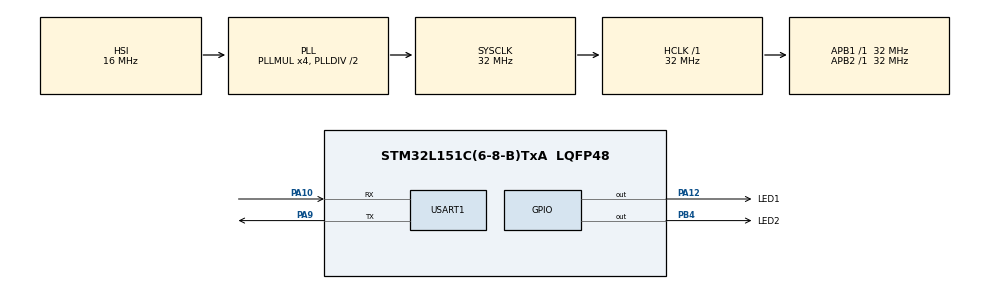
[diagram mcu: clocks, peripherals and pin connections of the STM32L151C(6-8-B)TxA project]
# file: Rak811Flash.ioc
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Mcu.Family=STM32L1
Mcu.Name=STM32L151C(6-8-B)TxA
Mcu.Package=LQFP48
NVIC.PriorityGroup=NVIC_PRIORITYGROUP_4
PA10.Mode=Asynchronous
PA10.Signal=USART1_RX
PA12.GPIO_Label=LED1
PA12.PinState=GPIO_PIN_SET
PA12.Signal=GPIO_Output
PA13.Mode=Serial_Wire
PA13.Signal=SYS_JTMS-SWDIO
PA14.Mode=Serial_Wire
PA14.Signal=SYS_JTCK-SWCLK
PA9.Mode=Asynchronous
PA9.Signal=USART1_TX
PB4.GPIO_Label=LED2
PB4.PinState=GPIO_PIN_SET
PB4.Signal=GPIO_Output
ProjectManager.HeapSize=0x200
ProjectManager.StackSize=0x400
ProjectManager.TargetToolchain=SW4STM32
RCC.48MHZClocksFreq_Value=32000000
RCC.AHBFreq_Value=32000000
RCC.APB1Freq_Value=32000000
RCC.APB1TimFreq_Value=32000000
RCC.APB2Freq_Value=32000000
RCC.APB2TimFreq_Value=32000000
RCC.HCLKFreq_Value=32000000
RCC.HSE_VALUE=24000000
RCC.HSI_VALUE=16000000
RCC.LSE_VALUE=32768
RCC.MSI_VALUE=2097000
RCC.PLLMUL=RCC_PLL_MUL4
RCC.SYSCLKFreq_VALUE=32000000
RCC.SYSCLKSource=RCC_SYSCLKSOURCE_PLLCLK
RCC.VCOOutputFreq_Value=64000000
USART1.VirtualMode=VM_ASYNC
board=custom

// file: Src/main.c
/**
  ******************************************************************************
  * @file           : main.c
  * @brief          : Main program body
  ******************************************************************************
  ** This notice applies to any and all portions of this file
  * that are not between comment pairs USER CODE BEGIN and
  * USER CODE END. Other portions of this file, whether
  * inserted by the user or by software development tools
  * are owned by their respective copyright owners.
  *
  * COPYRIGHT(c) 2018 STMicroelectronics
  *
  * Redistribution and use in source and binary forms, with or without modification,
  * are permitted provided that the following conditions are met:
  *   1. Redistributions of source code must retain the above copyright notice,
  *      this list of conditions and the following disclaimer.
  *   2. Redistributions in binary form must reproduce the above copyright notice,
  *      this list of conditions and the following disclaimer in the documentation
  *      and/or other materials provided with the distribution.
  *   3. Neither the name of STMicroelectronics nor the names of its contributors
  *      may be used to endorse or promote products derived from this software
  *      without specific prior written permission.
  *
  * THIS SOFTWARE IS PROVIDED BY THE COPYRIGHT HOLDERS AND CONTRIBUTORS "AS IS"
  * AND ANY EXPRESS OR IMPLIED WARRANTIES, INCLUDING, BUT NOT LIMITED TO, THE
  * IMPLIED WARRANTIES OF MERCHANTABILITY AND FITNESS FOR A PARTICULAR PURPOSE ARE
  * DISCLAIMED. IN NO EVENT SHALL THE COPYRIGHT HOLDER OR CONTRIBUTORS BE LIABLE
  * FOR ANY DIRECT, INDIRECT, INCIDENTAL, SPECIAL, EXEMPLARY, OR CONSEQUENTIAL
  * DAMAGES (INCLUDING, BUT NOT LIMITED TO, PROCUREMENT OF SUBSTITUTE GOODS OR
  * SERVICES; LOSS OF USE, DATA, OR PROFITS; OR BUSINESS INTERRUPTION) HOWEVER
  * CAUSED AND ON ANY THEORY OF LIABILITY, WHETHER IN CONTRACT, STRICT LIABILITY,
  * OR TORT (INCLUDING NEGLIGENCE OR OTHERWISE) ARISING IN ANY WAY OUT OF THE USE
  * OF THIS SOFTWARE, EVEN IF ADVISED OF THE POSSIBILITY OF SUCH DAMAGE.
  *
  ******************************************************************************
  */
#include "main.h"
#include "stm32l1xx_hal.h"

/* USER CODE BEGIN Includes */
#include "stm32l151xba.h"
#include "stm32l1xx_hal_flash_ex.h"
#include <stdlib.h>
#include <string.h>

#define BUFLEN           0x100
#define FLASH_USER_ADDR  0x08000000 + 0x20000 - BUFLEN //highest 256 bytes of flash
//#define FLASH_USER_ADDR 0x0801E000
/* USER CODE END Includes */

UART_HandleTypeDef huart1;

/* USER CODE BEGIN PV */
/* Private variables ---------------------------------------------------------*/

/* USER CODE END PV */

void SystemClock_Config(void);
static void MX_GPIO_Init(void);
static void MX_USART1_UART_Init(void);

/* USER CODE BEGIN PFP */
/* Private function prototypes -----------------------------------------------*/

/* USER CODE END PFP */

/* USER CODE BEGIN 0 */

void read_flash_data(uint32_t addr, void *buffer, uint16_t len)
{
	memcpy(buffer, (void *)addr, len);
}

void erase_page(uint32_t addr) {
	FLASH_EraseInitTypeDef EraseInitStruct;
	HAL_StatusTypeDef retCode;
	uint32_t PAGEError = 0;

	HAL_FLASH_Unlock();
	printf("Erasing flash at address: 0x%lx\r\n",addr);
    EraseInitStruct.TypeErase   = FLASH_TYPEERASE_PAGES;
    EraseInitStruct.PageAddress = addr;
    EraseInitStruct.NbPages     = 1;
    if ((retCode = HAL_FLASHEx_Erase(&EraseInitStruct, &PAGEError))!= HAL_OK) {
    	printf("Flash erase error: 0x%02x\r\n",retCode);
    	printf("PAGEError: %ld\r\n",PAGEError);
    	retCode = HAL_FLASH_GetError();
    	printf("Flash error code is 0x%x\r\n",retCode);
    	return;
    }
	HAL_FLASH_Lock();
    printf("Page successfully erased\r\n");
}

void write_flash_data(uint32_t addr, void *buffer, uint16_t len)
{
	uint32_t *wr_data = buffer;
	int i = 0;

	printf("write_flash_data: address: 0x%lx, length: 0x%04x\r\n",addr,len);
	HAL_FLASH_Unlock();

	for (i = 0; i < len/4; i++) {
	    if (HAL_FLASH_Program(FLASH_TYPEPROGRAM_WORD, addr, *wr_data) != HAL_OK) {
	    	printf("Flash programming error at address: 0x%lx\r\n",addr);
	    	return;
	    }
        wr_data++;
        addr += 4;
	}
	//DelayMs(1000);
	HAL_FLASH_Lock();
}

void printBuf(uint8_t *buffer, uint16_t bufLen) {
	printf("0x000: ");
	for (int i=0; i<bufLen; i++) {
		if ((i != 0) && !(i % 16)) {
			printf("\r\n");
			if ((i+1) < bufLen)
				printf("0x%03x: ",i);
		}
		printf("0x%02x ",buffer[i]);
	}
	printf("\r\n\n");
}

void printOptionBytes(FLASH_OBProgramInitTypeDef *optionBytes) {
	printf("Option bytes:\r\n");
	printf("OptionType:       0x%lx\r\n",optionBytes->OptionType);
	printf("WRPState  :       0x%lx\r\n",optionBytes->WRPState);
	printf("WRPSector0To31 :  0x%lx\r\n",optionBytes->WRPSector0To31);
	printf("RDPLevel:         0x%02x\r\n",optionBytes->RDPLevel);
	printf("BORLevel:         0x%02x\r\n",optionBytes->BORLevel);
	printf("USERConfig:       0x%02x\r\n",optionBytes->USERConfig);
}
/* USER CODE END 0 */

int main(void)
{
  /* USER CODE BEGIN 1 */
	uint8_t outBuf[BUFLEN];
	uint8_t inBuf[BUFLEN];
	uint32_t tmp,flash_status;
	FLASH_OBProgramInitTypeDef optionBytes;
	uint32_t flashAddress;
	extern uint32_t _hello;
	flash_status = FLASH->SR;

  /* USER CODE END 1 */

  /* MCU Configuration----------------------------------------------------------*/

  /* Reset of all peripherals, Initializes the Flash interface and the Systick. */
  HAL_Init();

  /* Configure the system clock */
  SystemClock_Config();

  /* Initialize all configured peripherals */
  MX_GPIO_Init();
  MX_USART1_UART_Init();
  /* USER CODE BEGIN 2 */
  printf("Writing and Reading Flash\r\n");
  printf ("The program writes Hello World! to flash and reads it back\r\n");
  printf("Flash is at address 0x%lx\r\n",(long)FLASH_USER_ADDR);

  HAL_FLASHEx_OBGetConfig(&optionBytes);
  printOptionBytes(&optionBytes);

  printf("The option bytes\r\n");
  tmp = OB->RDP;
  printf("RDP:   0x%08lx\r\n",tmp);
  tmp = OB->USER;
  printf("USER:  0x%08lx\r\n",tmp);
  tmp = OB->WRP01;
  printf("WRP01: 0x%08lx\r\n",tmp);
  tmp = OB->WRP23;
  printf("WRP23: 0x%08lx\r\n",tmp);

  printf("Flash status after reset: 0x%08lx\r\n",flash_status);

//  printf("Flash status after HAL_Init(): 0x%08lx\r\n",tmp1);

  FLASH->SR = (uint32_t) 0x800;
  HAL_Delay(10);
  tmp = FLASH->SR;
  printf("Flash status after write: 0x%08lx\r\n",tmp);
  tmp = FLASH->OBR;
   printf("Flash OBR 0x%08lx\r\n",tmp);
//#define READY 1

  /*
   * clear out the page buffer, write "Hello World!" into it and print it
   */
  memset(outBuf,0,BUFLEN);
  strcpy((char *)outBuf,"Hello from Flash!\r\n");
  printf("out buffer: \r\n");
  printBuf(outBuf,(uint16_t) BUFLEN);
  /*
   * read the current data from the flash page and print it
   */
  flashAddress = (uint32_t)&_hello;
  printf("Flash address is 0x%08lx\r\n",flashAddress);
  read_flash_data(flashAddress, inBuf, (uint16_t) BUFLEN );
  printf("Beginning of flash buffer: %s\r\n",inBuf);
  printBuf(inBuf,(uint16_t) BUFLEN);
  /*
   * erase the page and print the values after erase
   */
  erase_page(flashAddress);
  printf("Buffer after erase: \r\n");
  read_flash_data(flashAddress, inBuf, (uint16_t) BUFLEN );
  printBuf(inBuf,(uint16_t) BUFLEN);
  /*
   * write the flash with the previously prepared output buffer
   */
  write_flash_data(flashAddress, outBuf, (uint16_t) BUFLEN );
  /*
   * read back the flash page and print its contents to check if writing was successful
   */
  read_flash_data(flashAddress, inBuf, (uint16_t) BUFLEN );
  printf("Flash after write: \r\n");
  printBuf(inBuf,(uint16_t) BUFLEN);

  /* USER CODE END 2 */

  /* Infinite loop */
  while (1)
  {

  }

}

void SystemClock_Config(void)
{

  RCC_OscInitTypeDef RCC_OscInitStruct;
  RCC_ClkInitTypeDef RCC_ClkInitStruct;

    /**Configure the main internal regulator output voltage
    */
  __HAL_PWR_VOLTAGESCALING_CONFIG(PWR_REGULATOR_VOLTAGE_SCALE1);

    /**Initializes the CPU, AHB and APB busses clocks
    */
  RCC_OscInitStruct.OscillatorType = RCC_OSCILLATORTYPE_HSI;
  RCC_OscInitStruct.HSIState = RCC_HSI_ON;
  RCC_OscInitStruct.HSICalibrationValue = 16;
  RCC_OscInitStruct.PLL.PLLState = RCC_PLL_ON;
  RCC_OscInitStruct.PLL.PLLSource = RCC_PLLSOURCE_HSI;
  RCC_OscInitStruct.PLL.PLLMUL = RCC_PLL_MUL4;
  RCC_OscInitStruct.PLL.PLLDIV = RCC_PLL_DIV2;
  if (HAL_RCC_OscConfig(&RCC_OscInitStruct) != HAL_OK)
  {
    _Error_Handler(__FILE__, __LINE__);
  }

    /**Initializes the CPU, AHB and APB busses clocks
    */
  RCC_ClkInitStruct.ClockType = RCC_CLOCKTYPE_HCLK|RCC_CLOCKTYPE_SYSCLK
                              |RCC_CLOCKTYPE_PCLK1|RCC_CLOCKTYPE_PCLK2;
  RCC_ClkInitStruct.SYSCLKSource = RCC_SYSCLKSOURCE_PLLCLK;
  RCC_ClkInitStruct.AHBCLKDivider = RCC_SYSCLK_DIV1;
  RCC_ClkInitStruct.APB1CLKDivider = RCC_HCLK_DIV1;
  RCC_ClkInitStruct.APB2CLKDivider = RCC_HCLK_DIV1;

  if (HAL_RCC_ClockConfig(&RCC_ClkInitStruct, FLASH_LATENCY_1) != HAL_OK)
  {
    _Error_Handler(__FILE__, __LINE__);
  }

    /**Configure the Systick interrupt time
    */
  HAL_SYSTICK_Config(HAL_RCC_GetHCLKFreq()/1000);

    /**Configure the Systick
    */
  HAL_SYSTICK_CLKSourceConfig(SYSTICK_CLKSOURCE_HCLK);

  /* SysTick_IRQn interrupt configuration */
  HAL_NVIC_SetPriority(SysTick_IRQn, 0, 0);
}

/* USART1 init function */
static void MX_USART1_UART_Init(void)
{

  huart1.Instance = USART1;
  huart1.Init.BaudRate = 115200;
  huart1.Init.WordLength = UART_WORDLENGTH_8B;
  huart1.Init.StopBits = UART_STOPBITS_1;
  huart1.Init.Parity = UART_PARITY_NONE;
  huart1.Init.Mode = UART_MODE_TX_RX;
  huart1.Init.HwFlowCtl = UART_HWCONTROL_NONE;
  huart1.Init.OverSampling = UART_OVERSAMPLING_16;
  if (HAL_UART_Init(&huart1) != HAL_OK)
  {
    _Error_Handler(__FILE__, __LINE__);
  }

}

/** Configure pins as
        * Analog
        * Input
        * Output
        * EVENT_OUT
        * EXTI
*/
static void MX_GPIO_Init(void)
{

  GPIO_InitTypeDef GPIO_InitStruct;

  /* GPIO Ports Clock Enable */
  __HAL_RCC_GPIOA_CLK_ENABLE();
  __HAL_RCC_GPIOB_CLK_ENABLE();

  /*Configure GPIO pin Output Level */
  HAL_GPIO_WritePin(LED1_GPIO_Port, LED1_Pin, GPIO_PIN_SET);

  /*Configure GPIO pin Output Level */
  HAL_GPIO_WritePin(LED2_GPIO_Port, LED2_Pin, GPIO_PIN_SET);

  /*Configure GPIO pin : LED1_Pin */
  GPIO_InitStruct.Pin = LED1_Pin;
  GPIO_InitStruct.Mode = GPIO_MODE_OUTPUT_PP;
  GPIO_InitStruct.Pull = GPIO_NOPULL;
  GPIO_InitStruct.Speed = GPIO_SPEED_FREQ_LOW;
  HAL_GPIO_Init(LED1_GPIO_Port, &GPIO_InitStruct);

  /*Configure GPIO pin : LED2_Pin */
  GPIO_InitStruct.Pin = LED2_Pin;
  GPIO_InitStruct.Mode = GPIO_MODE_OUTPUT_PP;
  GPIO_InitStruct.Pull = GPIO_NOPULL;
  GPIO_InitStruct.Speed = GPIO_SPEED_FREQ_LOW;
  HAL_GPIO_Init(LED2_GPIO_Port, &GPIO_InitStruct);

}

void _Error_Handler(char *file, int line)
{
  while(1)
  {
  }
}

/************************ (C) COPYRIGHT STMicroelectronics *****END OF FILE****/
